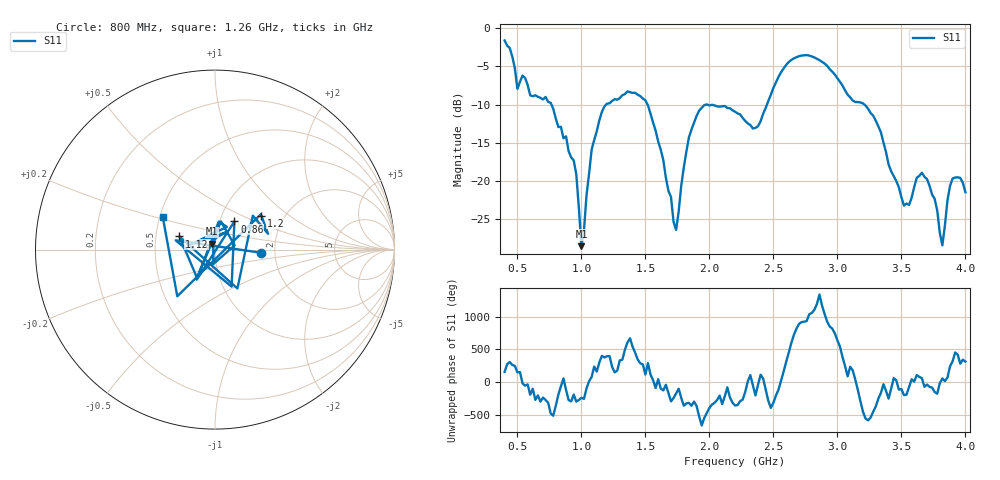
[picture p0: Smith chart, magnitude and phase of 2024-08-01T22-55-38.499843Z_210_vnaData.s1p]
!Created with skrf (http://scikit-rf.org).
# Hz S RI R 50.0
!freq ReS11 ImS11
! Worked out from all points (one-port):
!   181 points, 400 MHz to 4 GHz, reference 50 ohm
!   lowest |S11| = -28.5 dB at 1 GHz (marker M1), VSWR 1.08, Z = 48.2 + j3.23 ohm
!   |S11| at or under -10 dB: 1.517 GHz to 1.974 GHz (456.8 MHz wide, 26.2 % of centre); 1.984 GHz to 2.45 GHz (465.6 MHz wide, 21 % of centre); 3.211 GHz to end of sweep (the widest 3 of 4)
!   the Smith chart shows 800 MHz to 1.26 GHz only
!   S11 on the Smith chart (normalised r, x): 800 MHz: 1.69, -0.06; 860 MHz: 1.18, +0.38; 1.12 GHz: 0.66, +0.10; 1.2 GHz: 1.53, +0.65; 1.26 GHz: 0.52, +0.21
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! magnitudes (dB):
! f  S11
! 400 MHz  -1.6
! 500 MHz  -7.9
! 540 MHz  -6.2
! 800 MHz  -11.8
! 860 MHz  -14.4
! 960 MHz  -19.1
! 1 GHz  -28.5
! 1.08 GHz  -15.9
! 1.12 GHz  -13.5
! 1.2 GHz  -9.9
! 1.26 GHz  -9.3
! 1.3 GHz  -9.1
! 1.52 GHz  -10.1
! 1.72 GHz  -25.3
! 1.76 GHz  -24.0
! 1.84 GHz  -14.3
! 1.92 GHz  -10.8
! 2.2 GHz  -10.9
! 2.38 GHz  -12.8
! 2.66 GHz  -3.9
! 3.1 GHz  -9.1
! 3.28 GHz  -11.5
! 3.56 GHz  -23.1
! 3.66 GHz  -18.9
! 3.76 GHz  -22.3
! 3.82 GHz  -28.4
! 3.9 GHz  -19.7
! 4 GHz  -21.5
